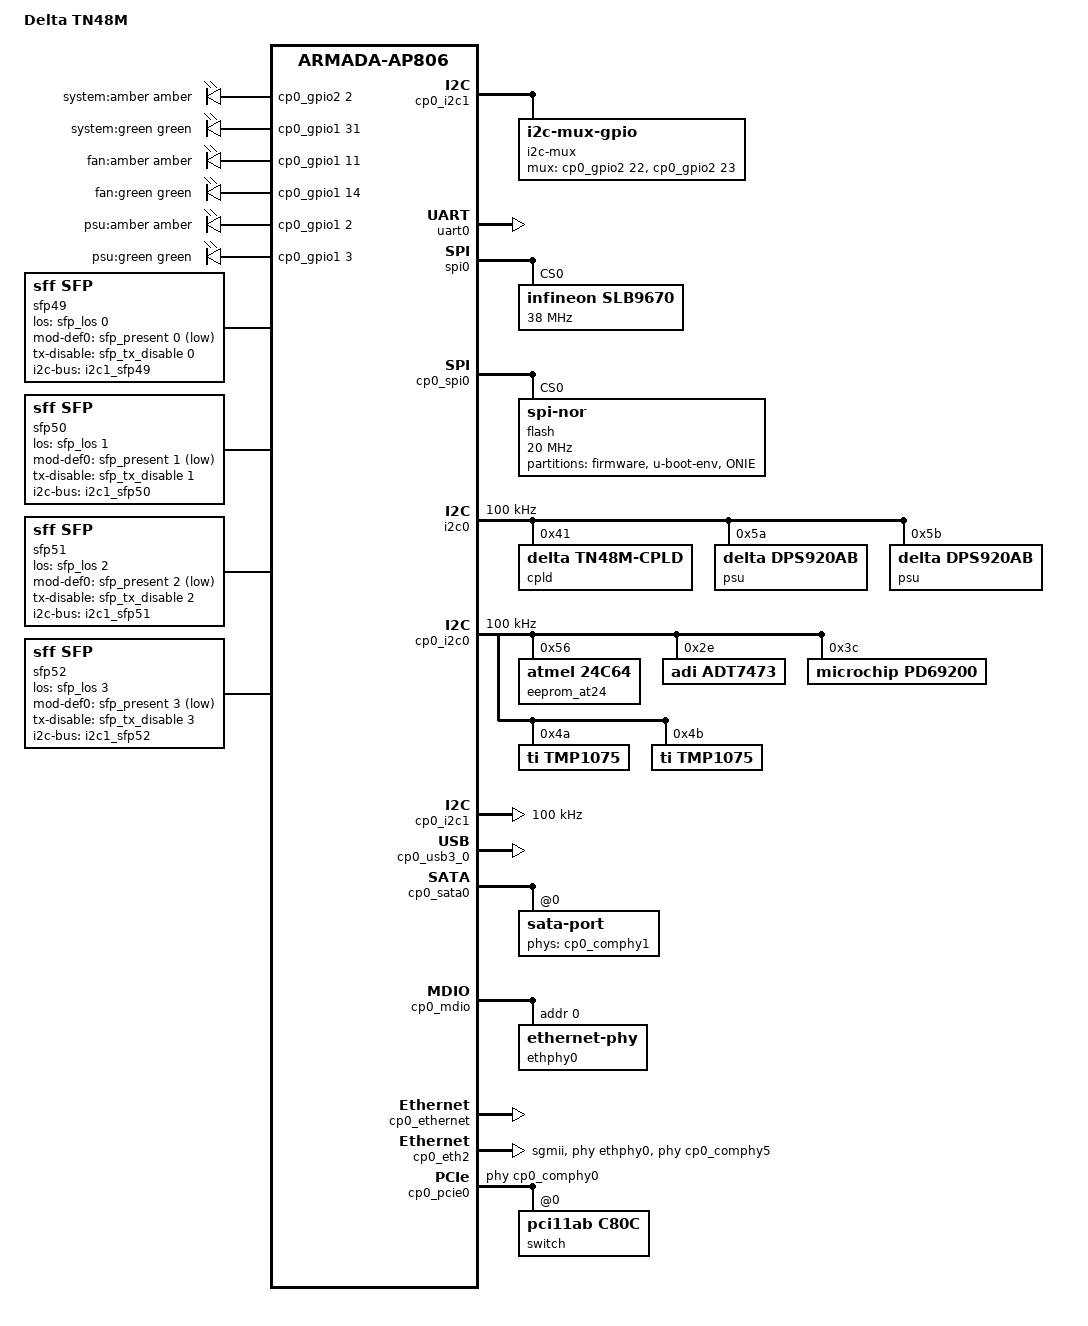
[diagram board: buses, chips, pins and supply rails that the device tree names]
// SPDX-License-Identifier: GPL-2.0-or-later OR MIT
/*
 * Copyright (C) 2016 Marvell Technology Group Ltd.
 * Copyright (C) 2022 Sartura Ltd.
 *
 * Device Tree file for Delta TN48M switch
 */

#include <dt-bindings/reset/delta,tn48m-reset.h>
#include <dt-bindings/leds/common.h>
#include <dt-bindings/gpio/gpio.h>
#include "armada-7040.dtsi"

/ {
	model = "Delta TN48M";
	compatible = "delta,tn48m", "marvell,armada7040",
		     "marvell,armada-ap806-quad", "marvell,armada-ap806";

	chosen {
		stdout-path = "serial0:115200n8";
	};

	leds {
		compatible = "gpio-leds";

		sys-amber {
			gpios = <&cp0_gpio2 2 GPIO_ACTIVE_HIGH>;
			color = <LED_COLOR_ID_AMBER>;
			label = "system:amber";
			default-state = "off";
			panic-indicator;
		};

		sys-green {
			gpios = <&cp0_gpio1 31 GPIO_ACTIVE_HIGH>;
			color = <LED_COLOR_ID_GREEN>;
			label = "system:green";
			default-state = "on";
		};

		fan-amber {
			gpios = <&cp0_gpio1 11 GPIO_ACTIVE_HIGH>;
			color = <LED_COLOR_ID_AMBER>;
			label = "fan:amber";
			default-state = "off";
		};

		fan-green {
			gpios = <&cp0_gpio1 14 GPIO_ACTIVE_HIGH>;
			color = <LED_COLOR_ID_GREEN>;
			label = "fan:green";
			default-state = "on";
		};

		psu-amber {
			gpios = <&cp0_gpio1 2 GPIO_ACTIVE_HIGH>;
			color = <LED_COLOR_ID_AMBER>;
			label = "psu:amber";
			default-state = "off";
		};

		psu-green {
			gpios = <&cp0_gpio1 3 GPIO_ACTIVE_HIGH>;
			color = <LED_COLOR_ID_GREEN>;
			label = "psu:green";
			default-state = "on";
		};
	};

	i2c-mux {
		compatible = "i2c-mux-gpio";
		#address-cells = <1>;
		#size-cells = <0>;
		mux-gpios = <&cp0_gpio2 22 GPIO_ACTIVE_HIGH
			     &cp0_gpio2 23 GPIO_ACTIVE_HIGH>;
		i2c-parent = <&cp0_i2c1>;

		i2c1_sfp49: i2c@0 {
			reg = <0>;
		};

		i2c1_sfp50: i2c@1 {
			reg = <1>;
		};

		i2c1_sfp51: i2c@2 {
			reg = <2>;
		};

		i2c1_sfp52: i2c@3 {
			reg = <3>;
		};
	};

	sfp49: sfp-49 {
		compatible = "sff,sfp";
		i2c-bus = <&i2c1_sfp49>;
		los-gpio = <&sfp_los 0 GPIO_ACTIVE_HIGH>;
		mod-def0-gpio = <&sfp_present 0 GPIO_ACTIVE_LOW>;
		tx-disable-gpio = <&sfp_tx_disable 0 GPIO_ACTIVE_HIGH>;
	};

	sfp50: sfp-50 {
		compatible = "sff,sfp";
		i2c-bus = <&i2c1_sfp50>;
		los-gpio = <&sfp_los 1 GPIO_ACTIVE_HIGH>;
		mod-def0-gpio = <&sfp_present 1 GPIO_ACTIVE_LOW>;
		tx-disable-gpio = <&sfp_tx_disable 1 GPIO_ACTIVE_HIGH>;
	};

	sfp51: sfp-51 {
		compatible = "sff,sfp";
		i2c-bus = <&i2c1_sfp51>;
		los-gpio = <&sfp_los 2 GPIO_ACTIVE_HIGH>;
		mod-def0-gpio = <&sfp_present 2 GPIO_ACTIVE_LOW>;
		tx-disable-gpio = <&sfp_tx_disable 2 GPIO_ACTIVE_HIGH>;
	};

	sfp52: sfp-52 {
		compatible = "sff,sfp";
		i2c-bus = <&i2c1_sfp52>;
		los-gpio = <&sfp_los 3 GPIO_ACTIVE_HIGH>;
		mod-def0-gpio = <&sfp_present 3 GPIO_ACTIVE_LOW>;
		tx-disable-gpio = <&sfp_tx_disable 3 GPIO_ACTIVE_HIGH>;
	};
};

&uart0 {
	status = "okay";
	pinctrl-0 = <&uart0_pins>;
	pinctrl-names = "default";
};

&spi0 {
	status = "okay";

	slb9670@0 {
		compatible = "infineon,slb9670";
		reg = <0>;
		spi-max-frequency = <38000000>;
	};
};

&cp0_spi0 {
	status = "okay";

	flash@0 {
		compatible = "jedec,spi-nor";
		reg = <0>;
		spi-max-frequency = <20000000>;

		partitions {
			compatible = "fixed-partitions";
			#address-cells = <1>;
			#size-cells = <1>;

			partition@0 {
				label = "firmware";
				reg = <0x0 0x3f0000>;
			};

			partition@3f0000 {
				label = "u-boot-env";
				reg = <0x3f0000 0x010000>;
			};

			partition@400000 {
				label = "ONIE";
				reg = <0x400000 0xc00000>;
			};
		};
	};
};

&i2c0 {
	status = "okay";
	clock-frequency = <100000>;

	cpld: cpld@41 {
		compatible = "delta,tn48m-cpld";
		reg = <0x41>;
		#address-cells = <1>;
		#size-cells = <0>;

		sfp_tx_disable: gpio@31 {
			compatible = "delta,tn48m-gpo";
			reg = <0x31>;
			gpio-controller;
			#gpio-cells = <2>;
		};

		sfp_present: gpio@3a {
			compatible = "delta,tn48m-gpi";
			reg = <0x3a>;
			gpio-controller;
			#gpio-cells = <2>;
		};

		sfp_los: gpio@40 {
			compatible = "delta,tn48m-gpi";
			reg = <0x40>;
			gpio-controller;
			#gpio-cells = <2>;
		};

		cpld_reset: reset-controller {
			compatible = "delta,tn48m-reset";
			#reset-cells = <1>;
		};

		cpldinfo {
			compatible = "delta,cpldinfo";
		};
	};

	psu@5a {
		compatible = "delta,dps920ab";
		reg = <0x5a>;
	};

	psu@5b {
		compatible = "delta,dps920ab";
		reg = <0x5b>;
	};
};

&cp0_i2c0 {
	status = "okay";
	clock-frequency = <100000>;

	eeprom_at24: eeprom@56 {
		compatible = "atmel,24c64";
		reg = <0x56>;

		nvmem-layout {
			compatible = "onie,tlv-layout";

			mac_address: mac-address {
				#nvmem-cell-cells = <1>;
			};
		};
	};

	adt7473@2e {
		compatible = "adi,adt7473";
		reg = <0x2e>;
	};

	pd69200: ethernet-pse@3c {
		compatible = "microchip,pd69200";
		reg = <0x3c>;

		managers {
		#address-cells = <1>;
		#size-cells = <0>;

			manager@0 {
				reg = <0>;
				#address-cells = <1>;
				#size-cells = <0>;

				phys0: port@0 {
					       reg = <0>;
				       };

				phys1: port@1 {
					       reg = <1>;
				       };

				phys2: port@2 {
					       reg = <2>;
				       };

				phys3: port@3 {
					       reg = <3>;
				       };

				phys4: port@4 {
					       reg = <4>;
				       };

				phys5: port@5 {
					       reg = <5>;
				       };

				phys6: port@6 {
					       reg = <6>;
				       };

				phys7: port@7 {
					       reg = <7>;
				       };
			};

			manager@1 {
				reg = <1>;
				#address-cells = <1>;
				#size-cells = <0>;

				phys8: port@0 {
					       reg = <0>;
				       };

				phys9: port@1 {
					       reg = <1>;
				       };

				phys10: port@2 {
					       reg = <2>;
				       };

				phys11: port@3 {
					       reg = <3>;
				       };

				phys12: port@4 {
					       reg = <4>;
				       };

				phys13: port@5 {
					       reg = <5>;
				       };

				phys14: port@6 {
					       reg = <6>;
				       };

				phys15: port@7 {
					       reg = <7>;
				       };
			};
		};

		pse-pis {
			#address-cells = <1>;
			#size-cells = <0>;

			pd692x0_pi0: pse-pi@0 {
				reg = <0>;
				#pse-cells = <0>;
				pairset-names = "alternative-a";
				pairsets = <&phys2>;
				polarity-supported = "MDI";
			};

			pd692x0_pi1: pse-pi@1 {
				reg = <1>;
				#pse-cells = <0>;
				pairset-names = "alternative-a";
				pairsets = <&phys3>;
				polarity-supported = "MDI";
			};

			pd692x0_pi2: pse-pi@2 {
				reg = <2>;
				#pse-cells = <0>;
				pairset-names = "alternative-a";
				pairsets = <&phys0>;
				polarity-supported = "MDI";
			};

			pd692x0_pi3: pse-pi@3 {
				reg = <3>;
				#pse-cells = <0>;
				pairset-names = "alternative-a";
				pairsets = <&phys1>;
				polarity-supported = "MDI";
			};

			pd692x0_pi4: pse-pi@4 {
				reg = <4>;
				#pse-cells = <0>;
				pairset-names = "alternative-a";
				pairsets = <&phys5>;
				polarity-supported = "MDI";
			};

			pd692x0_pi5: pse-pi@5 {
				reg = <5>;
				#pse-cells = <0>;
				pairset-names = "alternative-a";
				pairsets = <&phys4>;
				polarity-supported = "MDI";
			};

			pd692x0_pi6: pse-pi@6 {
				reg = <6>;
				#pse-cells = <0>;
				pairset-names = "alternative-a";
				pairsets = <&phys7>;
				polarity-supported = "MDI";
			};

			pd692x0_pi7: pse-pi@7 {
				reg = <7>;
				#pse-cells = <0>;
				pairset-names = "alternative-a";
				pairsets = <&phys6>;
				polarity-supported = "MDI";
			};
		};
	};

	tmp1075@4a {
		compatible = "ti,tmp1075";
		reg = <0x4a>;
	};

	tmp1075@4b {
		compatible = "ti,tmp1075";
		reg = <0x4b>;
	};
};

&cp0_i2c1 {
	status = "okay";
	clock-frequency = <100000>;
};

&cp0_usb3_0 {
	status = "okay";
};

&cp0_sata0 {
	status = "okay";

	sata-port@0 {
		status = "okay";
		phys = <&cp0_comphy1 0>;
	};
};

&cp0_mdio {
	status = "okay";

	ethphy0: ethernet-phy@0 {
		reg = <0>;
	};
};

&cp0_ethernet {
	status = "okay";
};

&cp0_eth2 {
	status = "okay";
	phy = <&ethphy0>;
	phy-mode = "sgmii";
	phys = <&cp0_comphy5 2>;
};

&cp0_pcie0 {
	status = "okay";
	phys = <&cp0_comphy0 0>;

	dma-ranges = <0x42000000 0x0 0x00000000 0x0 0x00000000 0x0 0x40000000>;

	pci@0,0 {
		device_type = "pci";
		reg = <0x0 0x0 0x0 0x0 0x0>;
		ranges;
		#address-cells = <3>;
		#size-cells = <2>;
		bus-range = <0x0 0x0>;

		switch@0,0 {
			reg = <0x0 0x0 0x0 0x0 0x0>;
			compatible = "pci11ab,c80c";

			ports {
				port1 {
					prestera,port-num = <1>;
					pses = <&pd692x0_pi0>;
				};

				port2 {
					prestera,port-num = <2>;
					pses = <&pd692x0_pi1>;
				};

				port3 {
					prestera,port-num = <3>;
					pses = <&pd692x0_pi2>;
				};

				port4 {
					prestera,port-num = <4>;
					pses = <&pd692x0_pi3>;
				};

				port5 {
					prestera,port-num = <5>;
				};

				port45 {
					prestera,port-num = <45>;
				};

				port46 {
					prestera,port-num = <46>;
				};

				port47 {
					prestera,port-num = <47>;
				};

				port48 {
					prestera,port-num = <48>;
				};

				port49 {
					prestera,port-num = <49>;
					sfp = <&sfp49>;
				};

				port50 {
					prestera,port-num = <50>;
					sfp = <&sfp50>;
				};

				port51 {
					prestera,port-num = <51>;
					sfp = <&sfp51>;
				};

				port52 {
					prestera,port-num = <52>;
					sfp = <&sfp52>;
				};
			};
		};
	};
};
